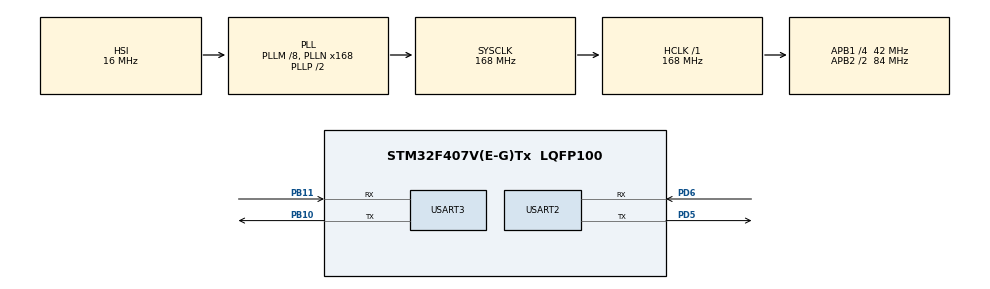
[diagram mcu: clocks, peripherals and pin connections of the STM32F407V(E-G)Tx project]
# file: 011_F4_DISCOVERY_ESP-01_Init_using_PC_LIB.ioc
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Mcu.Family=STM32F4
NVIC.USART3_IRQn=true\:0\:0\:false\:false\:true\:true\:true
PH0-OSC_IN.Signal=RCC_OSC_IN
RCC.CortexFreq_Value=168000000
PB10.Mode=Asynchronous
PD5.Signal=USART2_TX
RCC.APB1CLKDivider=RCC_HCLK_DIV4
PB11.Signal=USART3_RX
PD6.Mode=Asynchronous
NVIC.USART2_IRQn=true\:0\:0\:false\:false\:true\:true\:true
RCC.SYSCLKSource=RCC_SYSCLKSOURCE_PLLCLK
ProjectManager.StackSize=0x400
PB11.Mode=Asynchronous
ProjectManager.TargetToolchain=STM32CubeIDE
RCC.HCLKFreq_Value=168000000
RCC.APB2TimFreq_Value=168000000
RCC.LSE_VALUE=32768
RCC.AHBFreq_Value=168000000
PH0-OSC_IN.Mode=HSE-External-Oscillator
PD5.Mode=Asynchronous
PB10.Signal=USART3_TX
RCC.HSE_VALUE=25000000
board=custom
RCC.VCOOutputFreq_Value=336000000
RCC.APB2Freq_Value=84000000
PH1-OSC_OUT.Signal=RCC_OSC_OUT
Mcu.Name=STM32F407V(E-G)Tx
PH1-OSC_OUT.Mode=HSE-External-Oscillator
RCC.48MHZClocksFreq_Value=84000000
RCC.SYSCLKFreq_VALUE=168000000
Mcu.Package=LQFP100
USART2.VirtualMode=VM_ASYNC
USART3.VirtualMode=VM_ASYNC
ProjectManager.HeapSize=0x200
RCC.HSI_VALUE=16000000
NVIC.PriorityGroup=NVIC_PRIORITYGROUP_4
RCC.APB2CLKDivider=RCC_HCLK_DIV2
RCC.PLLM=8
RCC.PLLN=168
RCC.APB1TimFreq_Value=84000000
PD6.Signal=USART2_RX
RCC.APB1Freq_Value=42000000

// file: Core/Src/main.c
/* USER CODE BEGIN Header */
/**
 ******************************************************************************
 * @file           : main.c
 * @brief          : Esp8266-01 Test-Function
 * Author          : Halil Gök
 * websites        :https://embeddedsystemshalilgk.wordpress.com
 * Youtube         :https://www.youtube.com/channel/UC8cJpAVnScqDzZ7IFs2tQMw
 ******************************************************************************
 * @attention
 *ESP_Init();this function should be called after testing. ESP_Init() can be called
 *this If hardware and software problems are not encountered.
 *test_AT();first, you must query with the test_AT command.
 *  USART2 -> PC
 *  USART3 ->ESP8266
 *We do the data retrieval part with interrupt.
 * Don't forget to activate the interrupt.
 ******************************************************************************
 */
/* USER CODE END Header */
#include "main.h"

/* USER CODE BEGIN Includes */
#include <string.h>
#include <stdio.h>
#include "esp8266-01.h"
/* USER CODE END Includes */

/* USER CODE BEGIN PM */
const char* WiFi_Name = "****";
const char* Wifi_Password = "****";
const char* Port = "***";
const char* IP = "***";
const char* User_Name = "***";
const char* User_Password = "****";

const char* TOPIC = "***";

#define Test_uartPC USART2
#define Test_uartESP USART3
/* USER CODE END PM */

UART_HandleTypeDef huart2;
UART_HandleTypeDef huart3;

/* USER CODE BEGIN PV */
ItemUnit Test_uartPc,Test_uartEsp;

/* USER CODE END PV */

void SystemClock_Config(void);
static void MX_GPIO_Init(void);
static void MX_USART2_UART_Init(void);
static void MX_USART3_UART_Init(void);

int main(void)
{

  /* MCU Configuration--------------------------------------------------------*/

  /* Reset of all peripherals, Initializes the Flash interface and the Systick. */
  HAL_Init();

  /* Configure the system clock */
  SystemClock_Config();

  /* Initialize all configured peripherals */
  MX_GPIO_Init();
  MX_USART2_UART_Init();
  MX_USART3_UART_Init();
  /* USER CODE BEGIN 2 */

	__printf_ctor(&Test_uartPc, &huart2);
	__printf_ctor(&Test_uartEsp, &huart3);

	TEST(&Test_uartPc);
	//TEST(&Test_uartEsp);

	/*incoming data is read piecemeal. */
	HAL_UART_Receive_IT(Test_uartPc.huart, &Test_uartPc.byteRx, 1);
	HAL_UART_Receive_IT(Test_uartEsp.huart, &Test_uartEsp.byteRx, 1);
	HAL_Delay(700);
	TEST_AT(&Test_uartEsp, &Test_uartPc);
	HAL_Delay(700);
	EspInit(&Test_uartEsp, WiFi_Name, Wifi_Password, &Test_uartPc);
	HAL_Delay(700);
	Connect_Secure_Broker(&Test_uartEsp, IP, Port, User_Name, User_Password,
			&Test_uartPc);
	HAL_Delay(700);
	Subscribe_MQTT(&Test_uartEsp, TOPIC, &Test_uartPc);
	HAL_Delay(700);
	clearBuffer(&Test_uartEsp);
	publish_MQTT(&Test_uartEsp, (char*)TOPIC,"Hello World");

  /* USER CODE END 2 */

  /* Infinite loop */
  /* USER CODE BEGIN WHILE */
	while (1)
	{

		Read_Message_MQTT(&Test_uartEsp, &Test_uartPc);
	   HAL_Delay(50);
    /* USER CODE END WHILE */

	}
}

void SystemClock_Config(void)
{
  RCC_OscInitTypeDef RCC_OscInitStruct = {0};
  RCC_ClkInitTypeDef RCC_ClkInitStruct = {0};

  /** Configure the main internal regulator output voltage
  */
  __HAL_RCC_PWR_CLK_ENABLE();
  __HAL_PWR_VOLTAGESCALING_CONFIG(PWR_REGULATOR_VOLTAGE_SCALE1);
  /** Initializes the RCC Oscillators according to the specified parameters
  * in the RCC_OscInitTypeDef structure.
  */
  RCC_OscInitStruct.OscillatorType = RCC_OSCILLATORTYPE_HSI;
  RCC_OscInitStruct.HSIState = RCC_HSI_ON;
  RCC_OscInitStruct.HSICalibrationValue = RCC_HSICALIBRATION_DEFAULT;
  RCC_OscInitStruct.PLL.PLLState = RCC_PLL_ON;
  RCC_OscInitStruct.PLL.PLLSource = RCC_PLLSOURCE_HSI;
  RCC_OscInitStruct.PLL.PLLM = 8;
  RCC_OscInitStruct.PLL.PLLN = 168;
  RCC_OscInitStruct.PLL.PLLP = RCC_PLLP_DIV2;
  RCC_OscInitStruct.PLL.PLLQ = 4;
  if (HAL_RCC_OscConfig(&RCC_OscInitStruct) != HAL_OK)
  {
    Error_Handler();
  }
  /** Initializes the CPU, AHB and APB buses clocks
  */
  RCC_ClkInitStruct.ClockType = RCC_CLOCKTYPE_HCLK|RCC_CLOCKTYPE_SYSCLK
                              |RCC_CLOCKTYPE_PCLK1|RCC_CLOCKTYPE_PCLK2;
  RCC_ClkInitStruct.SYSCLKSource = RCC_SYSCLKSOURCE_PLLCLK;
  RCC_ClkInitStruct.AHBCLKDivider = RCC_SYSCLK_DIV1;
  RCC_ClkInitStruct.APB1CLKDivider = RCC_HCLK_DIV4;
  RCC_ClkInitStruct.APB2CLKDivider = RCC_HCLK_DIV2;

  if (HAL_RCC_ClockConfig(&RCC_ClkInitStruct, FLASH_LATENCY_5) != HAL_OK)
  {
    Error_Handler();
  }
}

static void MX_USART2_UART_Init(void)
{

  huart2.Instance = USART2;
  huart2.Init.BaudRate = 115200;
  huart2.Init.WordLength = UART_WORDLENGTH_8B;
  huart2.Init.StopBits = UART_STOPBITS_1;
  huart2.Init.Parity = UART_PARITY_NONE;
  huart2.Init.Mode = UART_MODE_TX_RX;
  huart2.Init.HwFlowCtl = UART_HWCONTROL_NONE;
  huart2.Init.OverSampling = UART_OVERSAMPLING_16;
  if (HAL_UART_Init(&huart2) != HAL_OK)
  {
    Error_Handler();
  }

}

static void MX_USART3_UART_Init(void)
{

  huart3.Instance = USART3;
  huart3.Init.BaudRate = 115200;
  huart3.Init.WordLength = UART_WORDLENGTH_8B;
  huart3.Init.StopBits = UART_STOPBITS_1;
  huart3.Init.Parity = UART_PARITY_NONE;
  huart3.Init.Mode = UART_MODE_TX_RX;
  huart3.Init.HwFlowCtl = UART_HWCONTROL_NONE;
  huart3.Init.OverSampling = UART_OVERSAMPLING_16;
  if (HAL_UART_Init(&huart3) != HAL_OK)
  {
    Error_Handler();
  }

}

static void MX_GPIO_Init(void)
{

  /* GPIO Ports Clock Enable */
  __HAL_RCC_GPIOH_CLK_ENABLE();
  __HAL_RCC_GPIOB_CLK_ENABLE();
  __HAL_RCC_GPIOD_CLK_ENABLE();

}

/* USER CODE BEGIN 4 */

/*HAL_UART_RxCpltCallback(UART_HandleTypeDef *huart):
 * this function is standard uart.C is the function.
 *  This function is called every time the interrupt enters
 *   the interrupt.We do 1 byte to 1 byte reading. We'll record
 *   it in the series. */
void HAL_UART_RxCpltCallback(UART_HandleTypeDef *huart) {
	if (huart->Instance == Test_uartPC) //queried which uart is used
	{
		HAL_UART_Receive_IT(Test_uartPc.huart, &Test_uartPc.byteRx, 1);

		Test_uartPc.rxBuffer[Test_uartPc.rxbufferIndex] = Test_uartPc.byteRx;
		Test_uartPc.rxbufferIndex++;

	}

	if (huart->Instance == Test_uartESP) {
		HAL_UART_Receive_IT(Test_uartEsp.huart,&Test_uartEsp.byteRx, 1);

		Test_uartEsp.rxBuffer[Test_uartEsp.rxbufferIndex] = Test_uartEsp.byteRx;
		Test_uartEsp.rxbufferIndex++;

	}
}

/* USER CODE END 4 */

void Error_Handler(void)
{
	__disable_irq();
	while (1) {
	}
}

/************************ (C) COPYRIGHT STMicroelectronics *****END OF FILE****/
